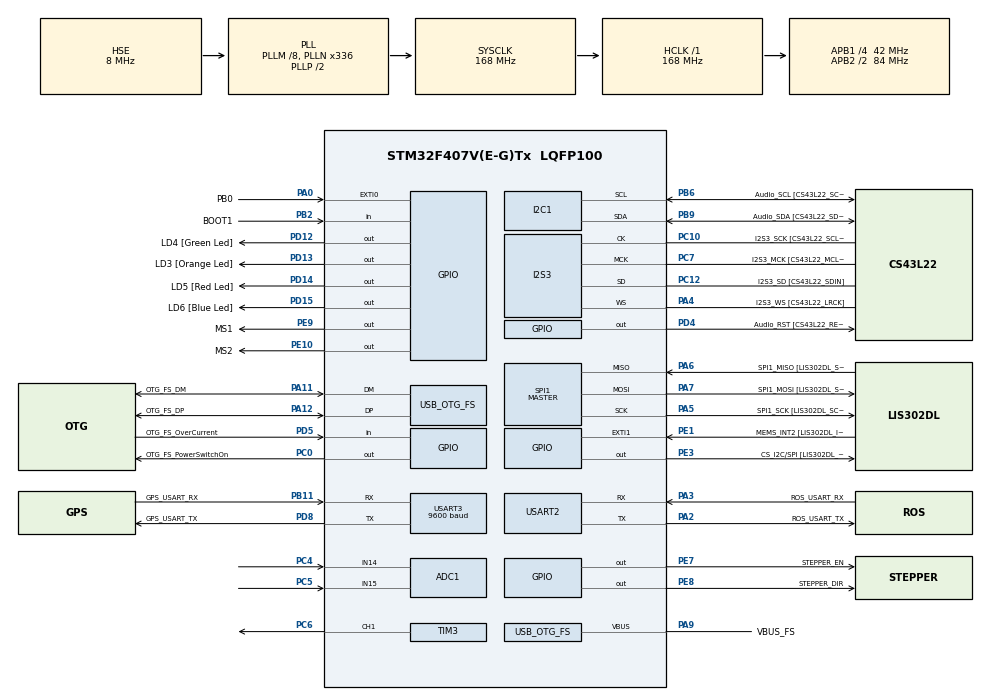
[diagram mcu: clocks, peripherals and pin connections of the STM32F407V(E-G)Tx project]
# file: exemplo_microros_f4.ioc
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ADC1.Channel-1\#ChannelRegularConversion=ADC_CHANNEL_14
ADC1.Channel-2\#ChannelRegularConversion=ADC_CHANNEL_15
ADC1.ContinuousConvMode=ENABLE
ADC1.DMAContinuousRequests=ENABLE
ADC1.DiscontinuousConvMode=DISABLE
ADC1.NbrOfConversion=2
ADC1.NbrOfConversionFlag=1
ADC1.Rank-1\#ChannelRegularConversion=1
ADC1.Rank-2\#ChannelRegularConversion=2
ADC1.SamplingTime-1\#ChannelRegularConversion=ADC_SAMPLETIME_28CYCLES
ADC1.SamplingTime-2\#ChannelRegularConversion=ADC_SAMPLETIME_28CYCLES
ADC1.ScanConvMode=ENABLE
ADC1.master=1
Dma.ADC1.2.Direction=DMA_PERIPH_TO_MEMORY
Dma.ADC1.2.FIFOMode=DMA_FIFOMODE_DISABLE
Dma.ADC1.2.Instance=DMA2_Stream0
Dma.ADC1.2.MemDataAlignment=DMA_MDATAALIGN_HALFWORD
Dma.ADC1.2.MemInc=DMA_MINC_ENABLE
Dma.ADC1.2.Mode=DMA_CIRCULAR
Dma.ADC1.2.PeriphDataAlignment=DMA_PDATAALIGN_HALFWORD
Dma.ADC1.2.PeriphInc=DMA_PINC_DISABLE
Dma.ADC1.2.Priority=DMA_PRIORITY_LOW
Dma.Request0=USART2_RX
Dma.Request1=USART2_TX
Dma.Request2=ADC1
Dma.USART2_RX.0.Direction=DMA_PERIPH_TO_MEMORY
Dma.USART2_RX.0.FIFOMode=DMA_FIFOMODE_DISABLE
Dma.USART2_RX.0.Instance=DMA1_Stream5
Dma.USART2_RX.0.MemDataAlignment=DMA_MDATAALIGN_BYTE
Dma.USART2_RX.0.MemInc=DMA_MINC_ENABLE
Dma.USART2_RX.0.Mode=DMA_CIRCULAR
Dma.USART2_RX.0.PeriphDataAlignment=DMA_PDATAALIGN_BYTE
Dma.USART2_RX.0.PeriphInc=DMA_PINC_DISABLE
Dma.USART2_RX.0.Priority=DMA_PRIORITY_VERY_HIGH
Dma.USART2_TX.1.Direction=DMA_MEMORY_TO_PERIPH
Dma.USART2_TX.1.FIFOMode=DMA_FIFOMODE_DISABLE
Dma.USART2_TX.1.Instance=DMA1_Stream6
Dma.USART2_TX.1.MemDataAlignment=DMA_MDATAALIGN_BYTE
Dma.USART2_TX.1.MemInc=DMA_MINC_ENABLE
Dma.USART2_TX.1.Mode=DMA_NORMAL
Dma.USART2_TX.1.PeriphDataAlignment=DMA_PDATAALIGN_BYTE
Dma.USART2_TX.1.PeriphInc=DMA_PINC_DISABLE
Dma.USART2_TX.1.Priority=DMA_PRIORITY_VERY_HIGH
FREERTOS.Mutexes01=stepperMutex,Dynamic,NULL;sensorDataMutex,Dynamic,NULL
FREERTOS.Tasks01=task_ros2,24,3000,task_ros2_function,Default,NULL,Dynamic,NULL,NULL;task_gps,24,1024,task_gps_function,Default,NULL,Dynamic,NULL,NULL;task_stepper,48,128,task_stepper_function,Default,NULL,Dynamic,NULL,NULL;task_main,32,512,task_main_function,Default,NULL,Dynamic,NULL,NULL
FREERTOS.configTOTAL_HEAP_SIZE=30000
I2S3.AudioFreq-Half_Duplex_Master=I2S_AUDIOFREQ_96K
I2S3.ErrorAudioFreq=-2.34 %
I2S3.ErrorAudioFreq-Half_Duplex_Master=0.8 %
I2S3.FullDuplexMode=I2S_FULLDUPLEXMODE_DISABLE
I2S3.Instance=SPI$Index
I2S3.RealAudioFreq=93.75 KHz
I2S3.RealAudioFreq-Half_Duplex_Master=96.774 KHz
I2S3.VirtualMode=I2S_MODE_MASTER
Mcu.Family=STM32F4
Mcu.Name=STM32F407V(E-G)Tx
Mcu.Package=LQFP100
NVIC.DMA1_Stream5_IRQn=true\:5\:0\:false\:false\:true\:true\:false\:true
NVIC.DMA1_Stream6_IRQn=true\:5\:0\:false\:false\:true\:true\:false\:true
NVIC.DMA2_Stream0_IRQn=true\:5\:0\:false\:false\:true\:true\:false\:true
NVIC.EXTI0_IRQn=true\:5\:0\:false\:false\:true\:true\:true\:true
NVIC.OTG_FS_IRQn=true\:5\:0\:false\:false\:true\:true\:true\:true
NVIC.PriorityGroup=NVIC_PRIORITYGROUP_4
NVIC.TIM3_IRQn=true\:6\:0\:true\:false\:true\:true\:true\:true
NVIC.TIM7_IRQn=true\:15\:0\:false\:false\:true\:false\:false\:true
NVIC.TimeBase=TIM7_IRQn
NVIC.TimeBaseIP=TIM7
NVIC.USART2_IRQn=true\:5\:0\:false\:false\:true\:true\:true\:true
NVIC.USART3_IRQn=true\:5\:0\:false\:false\:true\:true\:true\:true
PA0-WKUP.GPIO_Label=PB0
PA0-WKUP.Signal=GPXTI0
PA10.GPIO_Label=OTG_FS_ID
PA10.GPIO_Mode=GPIO_MODE_AF_PP
PA10.GPIO_PuPd=GPIO_NOPULL
PA10.GPIO_Speed=GPIO_SPEED_FREQ_LOW
PA10.Signal=USB_OTG_FS_ID
PA11.GPIO_Label=OTG_FS_DM
PA11.GPIO_Mode=GPIO_MODE_AF_PP
PA11.GPIO_PuPd=GPIO_NOPULL
PA11.GPIO_Speed=GPIO_SPEED_FREQ_LOW
PA11.Mode=Host_Only
PA11.Signal=USB_OTG_FS_DM
PA12.GPIO_Label=OTG_FS_DP
PA12.GPIO_Mode=GPIO_MODE_AF_PP
PA12.GPIO_PuPd=GPIO_NOPULL
PA12.GPIO_Speed=GPIO_SPEED_FREQ_LOW
PA12.Mode=Host_Only
PA12.Signal=USB_OTG_FS_DP
PA13.GPIO_Label=SWDIO
PA13.Mode=Trace_Asynchronous_SW
PA13.Signal=SYS_JTMS-SWDIO
PA14.GPIO_Label=SWCLK
PA14.Mode=Trace_Asynchronous_SW
PA14.Signal=SYS_JTCK-SWCLK
PA2.GPIO_Label=ROS_USART_TX
PA2.Mode=Asynchronous
PA2.Signal=USART2_TX
PA3.GPIO_Label=ROS_USART_RX
PA3.Mode=Asynchronous
PA3.Signal=USART2_RX
PA4.GPIO_Label=I2S3_WS [CS43L22_LRCK]
PA4.GPIO_Mode=GPIO_MODE_AF_PP
PA4.GPIO_PuPd=GPIO_NOPULL
PA4.GPIO_Speed=GPIO_SPEED_FREQ_LOW
PA4.Mode=Half_Duplex_Master
PA4.Signal=I2S3_WS
PA5.GPIO_Label=SPI1_SCK [LIS302DL_SCL/SPC]
PA5.GPIO_Mode=GPIO_MODE_AF_PP
PA5.GPIO_PuPd=GPIO_NOPULL
PA5.GPIO_Speed=GPIO_SPEED_FREQ_LOW
PA5.Mode=Full_Duplex_Master
PA5.Signal=SPI1_SCK
PA6.GPIO_Label=SPI1_MISO [LIS302DL_SDO]
PA6.GPIO_Mode=GPIO_MODE_AF_PP
PA6.GPIO_PuPd=GPIO_NOPULL
PA6.GPIO_Speed=GPIO_SPEED_FREQ_LOW
PA6.Mode=Full_Duplex_Master
PA6.Signal=SPI1_MISO
PA7.GPIO_Label=SPI1_MOSI [LIS302DL_SDA/SDI/SDO]
PA7.GPIO_Mode=GPIO_MODE_AF_PP
PA7.GPIO_PuPd=GPIO_NOPULL
PA7.GPIO_Speed=GPIO_SPEED_FREQ_LOW
PA7.Mode=Full_Duplex_Master
PA7.Signal=SPI1_MOSI
PA9.GPIO_Label=VBUS_FS
PA9.GPIO_Mode=GPIO_MODE_INPUT
PA9.GPIO_PuPd=GPIO_NOPULL
PA9.Mode=Activate_VBUS
PA9.Signal=USB_OTG_FS_VBUS
PB10.GPIO_Label=CLK_IN [MP45DT02_CLK]
PB10.GPIO_Mode=GPIO_MODE_AF_PP
PB10.GPIO_PuPd=GPIO_NOPULL
PB10.GPIO_Speed=GPIO_SPEED_FREQ_LOW
PB10.Signal=I2S2_CK
PB11.GPIO_Label=GPS_USART_RX
PB11.Mode=Asynchronous
PB11.Signal=USART3_RX
PB2.GPIO_Label=BOOT1
PB2.GPIO_Mode=GPIO_MODE_INPUT
PB2.GPIO_PuPd=GPIO_NOPULL
PB2.Signal=GPIO_Input
PB3.GPIO_Label=SWO
PB3.Mode=Trace_Asynchronous_SW
PB3.Signal=SYS_JTDO-SWO
PB6.GPIO_Label=Audio_SCL [CS43L22_SCL]
PB6.GPIO_Mode=GPIO_MODE_AF_OD
PB6.GPIO_Pu=GPIO_PULLUP
PB6.GPIO_PuPd=GPIO_NOPULL
PB6.GPIO_Speed=GPIO_SPEED_FREQ_LOW
PB6.Mode=I2C
PB6.Signal=I2C1_SCL
PB9.GPIO_Label=Audio_SDA [CS43L22_SDA]
PB9.GPIO_Mode=GPIO_MODE_AF_OD
PB9.GPIO_Pu=GPIO_PULLUP
PB9.GPIO_PuPd=GPIO_NOPULL
PB9.GPIO_Speed=GPIO_SPEED_FREQ_LOW
PB9.Mode=I2C
PB9.Signal=I2C1_SDA
PC0.GPIO_Label=OTG_FS_PowerSwitchOn
PC0.GPIO_PuPd=GPIO_NOPULL
PC0.GPIO_Speed=GPIO_SPEED_FREQ_LOW
PC0.PinState=GPIO_PIN_SET
PC0.Signal=GPIO_Output
PC10.GPIO_Label=I2S3_SCK [CS43L22_SCLK]
PC10.GPIO_Mode=GPIO_MODE_AF_PP
PC10.GPIO_PuPd=GPIO_NOPULL
PC10.GPIO_Speed=GPIO_SPEED_FREQ_LOW
PC10.Mode=Half_Duplex_Master
PC10.Signal=I2S3_CK
PC12.GPIO_Label=I2S3_SD [CS43L22_SDIN]
PC12.GPIO_Mode=GPIO_MODE_AF_PP
PC12.GPIO_PuPd=GPIO_NOPULL
PC12.GPIO_Speed=GPIO_SPEED_FREQ_LOW
PC12.Mode=Half_Duplex_Master
PC12.Signal=I2S3_SD
PC14-OSC32_IN.GPIO_Label=PC14-OSC32_IN
PC14-OSC32_IN.Mode=LSE-External-Oscillator
PC14-OSC32_IN.Signal=RCC_OSC32_IN
PC15-OSC32_OUT.GPIO_Label=PC15-OSC32_OUT
PC15-OSC32_OUT.Mode=LSE-External-Oscillator
PC15-OSC32_OUT.Signal=RCC_OSC32_OUT
PC3.GPIO_Label=PDM_OUT [MP45DT02_DOUT]
PC3.GPIO_Mode=GPIO_MODE_AF_PP
PC3.GPIO_PuPd=GPIO_NOPULL
PC3.GPIO_Speed=GPIO_SPEED_FREQ_LOW
PC3.Signal=I2S2_SD
PC4.Signal=ADCx_IN14
PC5.Signal=ADCx_IN15
PC6.Signal=S_TIM3_CH1
PC7.GPIO_Label=I2S3_MCK [CS43L22_MCLK]
PC7.GPIO_Mode=GPIO_MODE_AF_PP
PC7.GPIO_PuPd=GPIO_NOPULL
PC7.GPIO_Speed=GPIO_SPEED_FREQ_LOW
PC7.Mode=Master_Clock_Activated
PC7.Signal=I2S3_MCK
PD12.GPIO_Label=LD4 [Green Led]
PD12.GPIO_PuPd=GPIO_NOPULL
PD12.GPIO_Speed=GPIO_SPEED_FREQ_LOW
PD12.Signal=GPIO_Output
PD13.GPIO_Label=LD3 [Orange Led]
PD13.GPIO_PuPd=GPIO_NOPULL
PD13.GPIO_Speed=GPIO_SPEED_FREQ_LOW
PD13.Signal=GPIO_Output
PD14.GPIO_Label=LD5 [Red Led]
PD14.GPIO_PuPd=GPIO_NOPULL
PD14.GPIO_Speed=GPIO_SPEED_FREQ_LOW
PD14.Signal=GPIO_Output
PD15.GPIO_Label=LD6 [Blue Led]
PD15.GPIO_PuPd=GPIO_NOPULL
PD15.GPIO_Speed=GPIO_SPEED_FREQ_LOW
PD15.Signal=GPIO_Output
PD4.GPIO_Label=Audio_RST [CS43L22_RESET]
PD4.GPIO_PuPd=GPIO_NOPULL
PD4.GPIO_Speed=GPIO_SPEED_FREQ_LOW
PD4.Signal=GPIO_Output
PD5.GPIO_Label=OTG_FS_OverCurrent
PD5.GPIO_Mode=GPIO_MODE_INPUT
PD5.GPIO_PuPd=GPIO_NOPULL
PD5.Signal=GPIO_Input
PD8.GPIO_Label=GPS_USART_TX
PD8.Mode=Asynchronous
PD8.Signal=USART3_TX
PE1.GPIO_Label=MEMS_INT2 [LIS302DL_INT2]
PE1.GPIO_ModeDefaultEXTI=GPIO_MODE_EVT_RISING
PE1.GPIO_PuPd=GPIO_NOPULL
PE1.Signal=GPXTI1
PE10.GPIO_Label=MS2
PE10.Signal=GPIO_Output
PE3.GPIO_Label=CS_I2C/SPI [LIS302DL_CS_I2C/SPI]
PE3.GPIO_PuPd=GPIO_NOPULL
PE3.GPIO_Speed=GPIO_SPEED_FREQ_LOW
PE3.Signal=GPIO_Output
PE7.GPIO_Label=STEPPER_EN
PE7.Signal=GPIO_Output
PE8.GPIO_Label=STEPPER_DIR
PE8.Signal=GPIO_Output
PE9.GPIO_Label=MS1
PE9.Signal=GPIO_Output
PH0-OSC_IN.GPIO_Label=PH0-OSC_IN
PH0-OSC_IN.Mode=HSE-External-Oscillator
PH0-OSC_IN.Signal=RCC_OSC_IN
PH1-OSC_OUT.GPIO_Label=PH1-OSC_OUT
PH1-OSC_OUT.Mode=HSE-External-Oscillator
PH1-OSC_OUT.Signal=RCC_OSC_OUT
ProjectManager.HeapSize=0x200
ProjectManager.StackSize=0x400
ProjectManager.TargetToolchain=STM32CubeIDE
RCC.48MHZClocksFreq_Value=48000000
RCC.AHBFreq_Value=168000000
RCC.APB1CLKDivider=RCC_HCLK_DIV4
RCC.APB1Freq_Value=42000000
RCC.APB1TimFreq_Value=84000000
RCC.APB2CLKDivider=RCC_HCLK_DIV2
RCC.APB2Freq_Value=84000000
RCC.APB2TimFreq_Value=168000000
RCC.CortexFreq_Value=168000000
RCC.HCLKFreq_Value=168000000
RCC.HSE_VALUE=8000000
RCC.HSI_VALUE=16000000
RCC.PLLM=8
RCC.PLLN=336
RCC.PLLQ=7
RCC.SYSCLKFreq_VALUE=168000000
RCC.SYSCLKSource=RCC_SYSCLKSOURCE_PLLCLK
RCC.VCOOutputFreq_Value=336000000
SH.ADCx_IN14.0=ADC1_IN14,IN14
SH.ADCx_IN15.0=ADC1_IN15,IN15
SH.S_TIM3_CH1.0=TIM3_CH1,PWM Generation1 CH1
SPI1.BaudRatePrescaler-Full_Duplex_Master=SPI_BAUDRATEPRESCALER_2
SPI1.CalculateBaudRate-Full_Duplex_Master=42.0 MBits/s
SPI1.Direction=SPI_DIRECTION_2LINES
SPI1.Mode=SPI_MODE_MASTER
SPI1.Mode-Full_Duplex_Master=SPI_MODE_MASTER
SPI1.VirtualType=VM_MASTER
TIM3.Channel-PWM\ Generation1\ CH1=TIM_CHANNEL_1
TIM3.Period=1000
TIM3.Prescaler=84-1
TIM3.Pulse-PWM\ Generation1\ CH1=250
USART2.VirtualMode=VM_ASYNC
USART3.BaudRate=9600
USART3.VirtualMode=VM_ASYNC
USB_OTG_FS.VirtualMode=Host_Only
USB_OTG_FS.phy_itface=HCD_PHY_EMBEDDED
VP_FREERTOS_VS_CMSIS_V2.Mode=CMSIS_V2
VP_SYS_VS_tim7.Mode=TIM7
VP_TIM3_VS_ClockSourceINT.Mode=Internal
board=STM32F407G-DISC1

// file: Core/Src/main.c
/* USER CODE BEGIN Header */
/**
  ******************************************************************************
  * @file           : main.c
  * @brief          : Main program body
  ******************************************************************************
  * @attention
  *
  * <h2><center>&copy; Copyright (c) 2021 STMicroelectronics.
  * All rights reserved.</center></h2>
  *
  * This software component is licensed by ST under Ultimate Liberty license
  * SLA0044, the "License"; You may not use this file except in compliance with
  * the License. You may obtain a copy of the License at:
  *                             www.st.com/SLA0044
  *
  ******************************************************************************
  */
/* USER CODE END Header */
#include "main.h"
#include "cmsis_os.h"

/* USER CODE BEGIN Includes */
#include <rcl/rcl.h>
#include <rcl/error_handling.h>
#include <rclc/rclc.h>
#include <rclc/executor.h>
#include <uxr/client/transport.h>
#include <rmw_microxrcedds_c/config.h>
#include <rmw_microros/rmw_microros.h>
#include <rosidl_runtime_c/string.h>

#include <time.h>
#include <math.h>
#include "stepper.h"

#include <std_msgs/msg/int32.h>
#include <std_msgs/msg/u_int32.h>
#include <sensor_msgs/msg/nav_sat_fix.h>
#include <std_msgs/msg/u_int16_multi_array.h>
#include <std_msgs/msg/float32.h>
/* USER CODE END Includes */

/* USER CODE BEGIN PTD */
typedef struct {
	float time;
	float latitude;
	float longitude;
	float hdop;
	float altitude;
	float geoid;
	char ns;
	char ew;
	char unit;
	int lock;
	int sats;
} gps_t;

typedef struct {
	uint32_t digital_input;
	uint32_t analog_input[2];
} sensor_data_t;

typedef struct {
	uint32_t stepper_target_position;
	uint32_t digital_output;
}ros_cmd_t;
/* USER CODE END PTD */

/* USER CODE BEGIN PD */
#define TF_GPS_DATA 1<<0
#define TF_STEPPER_INT 1<<0
#define TF_STEPPER_DATA 1<<1
#define TF_MAIN_ROS_CMD 1<<0
/* USER CODE END PD */

ADC_HandleTypeDef hadc1;
DMA_HandleTypeDef hdma_adc1;

I2C_HandleTypeDef hi2c1;

I2S_HandleTypeDef hi2s3;

SPI_HandleTypeDef hspi1;

TIM_HandleTypeDef htim3;

UART_HandleTypeDef huart2;
UART_HandleTypeDef huart3;
DMA_HandleTypeDef hdma_usart2_rx;
DMA_HandleTypeDef hdma_usart2_tx;

HCD_HandleTypeDef hhcd_USB_OTG_FS;

/* Definitions for task_ros2 */
osThreadId_t task_ros2Handle;
const osThreadAttr_t task_ros2_attributes = {
  .name = "task_ros2",
  .stack_size = 3000 * 4,
  .priority = (osPriority_t) osPriorityNormal,
};
/* Definitions for task_gps */
osThreadId_t task_gpsHandle;
const osThreadAttr_t task_gps_attributes = {
  .name = "task_gps",
  .stack_size = 1024 * 4,
  .priority = (osPriority_t) osPriorityNormal,
};
/* Definitions for task_stepper */
osThreadId_t task_stepperHandle;
const osThreadAttr_t task_stepper_attributes = {
  .name = "task_stepper",
  .stack_size = 128 * 4,
  .priority = (osPriority_t) osPriorityRealtime,
};
/* Definitions for task_main */
osThreadId_t task_mainHandle;
const osThreadAttr_t task_main_attributes = {
  .name = "task_main",
  .stack_size = 512 * 4,
  .priority = (osPriority_t) osPriorityAboveNormal,
};
/* Definitions for stepperMutex */
osMutexId_t stepperMutexHandle;
const osMutexAttr_t stepperMutex_attributes = {
  .name = "stepperMutex"
};
/* Definitions for sensorDataMutex */
osMutexId_t sensorDataMutexHandle;
const osMutexAttr_t sensorDataMutex_attributes = {
  .name = "sensorDataMutex"
};
/* USER CODE BEGIN PV */
/* Subscriber declaration */

rcl_subscription_t ros2_gpio_output_sub;
rcl_subscription_t ros2_stepper_target_position_sub;

/* Publisher declaration */

rcl_publisher_t ros2_gpio_input_pub;
rcl_publisher_t ros2_gps_pub;
rcl_publisher_t ros2_analog_input_pub;
rcl_publisher_t ros2_stepper_current_position_pub;
rcl_publisher_t ros2_stepper_speed_pub;
/* ROS timer declaration */

rcl_timer_t ros2_gpio_input_timer;
rcl_timer_t ros2_gps_timer;
rcl_timer_t ros2_analog_input_timer;
rcl_timer_t ros2_stepper_current_position_timer;
rcl_timer_t ros2_stepper_speed_timer;

/* Messages declaration */

std_msgs__msg__UInt32 ros2_gpio_input_msg;
sensor_msgs__msg__NavSatFix ros2_gps_msg;
std_msgs__msg__UInt16MultiArray ros2_analog_input_msg;
std_msgs__msg__UInt32 ros2_gpio_output_msg;
std_msgs__msg__UInt32 ros2_stepper_target_position_msg;
std_msgs__msg__UInt32 ros2_stepper_current_position_msg;
std_msgs__msg__Float32 ros2_stepper_speed_msg;

uint16_t adc_values[2];
uint32_t gpio_input;
uint8_t gps_buffer[256];
uint8_t gps_buffer_index = 0;
uint8_t uart_gps_rx = 0;

stepper_t stepper;
gps_t gps;
ros_cmd_t ros_cmd;
sensor_data_t sensor_data;

HAL_StatusTypeDef status;

/* USER CODE END PV */

void SystemClock_Config(void);
static void MX_GPIO_Init(void);
static void MX_I2C1_Init(void);
static void MX_I2S3_Init(void);
static void MX_SPI1_Init(void);
static void MX_DMA_Init(void);
static void MX_USART2_UART_Init(void);
static void MX_USB_OTG_FS_HCD_Init(void);
static void MX_USART3_UART_Init(void);
static void MX_ADC1_Init(void);
static void MX_TIM3_Init(void);
void task_ros2_function(void *argument);
void task_gps_function(void *argument);
void task_stepper_function(void *argument);
void task_main_function(void *argument);

/* USER CODE BEGIN PFP */
bool cubemx_transport_open(struct uxrCustomTransport * transport);
bool cubemx_transport_close(struct uxrCustomTransport * transport);
size_t cubemx_transport_write(struct uxrCustomTransport* transport, const uint8_t * buf, size_t len, uint8_t * err);
size_t cubemx_transport_read(struct uxrCustomTransport* transport, uint8_t* buf, size_t len, int timeout, uint8_t* err);

void * microros_allocate(size_t size, void * state);
void microros_deallocate(void * pointer, void * state);
void * microros_reallocate(void * pointer, size_t size, void * state);
void * microros_zero_allocate(size_t number_of_elements, size_t size_of_element, void * state);

void ros2_gpio_input_timer_callback(rcl_timer_t * timer, int64_t last_call_time);
void ros2_gps_timer_callback(rcl_timer_t * timer, int64_t last_call_time);
void ros2_analog_input_timer_callback(rcl_timer_t * timer, int64_t last_call_time);
void ros2_stepper_current_position_timer_callback(rcl_timer_t * timer, int64_t last_call_time);
void ros2_stepper_speed_timer_callback(rcl_timer_t * timer, int64_t last_call_time);

void ros2_gpio_output_callback(const void * msgin);
void ros2_stepper_target_position_callback(const void * msgin);

//extern int clock_gettime( int clock_id, struct timespec * tp );
extern void UTILS_NanosecondsToTimespec( int64_t llSource, struct timespec * const pxDestination );
double convertDegMinToDecDeg (float degMin);
void updateDigitalOuputs(uint32_t digital_output);
/* USER CODE END PFP */

int main(void)
{

  /* MCU Configuration--------------------------------------------------------*/

  /* Reset of all peripherals, Initializes the Flash interface and the Systick. */
  HAL_Init();

  /* Configure the system clock */
  SystemClock_Config();

  /* Initialize all configured peripherals */
  MX_GPIO_Init();
  MX_I2C1_Init();
  MX_I2S3_Init();
  MX_SPI1_Init();
  MX_DMA_Init();
  MX_USART2_UART_Init();
  MX_USB_OTG_FS_HCD_Init();
  MX_USART3_UART_Init();
  MX_ADC1_Init();
  MX_TIM3_Init();
  /* USER CODE BEGIN 2 */
  HAL_ADC_Start_DMA(&hadc1, adc_values, 2);
  status = HAL_UART_Receive_IT(&huart3, &uart_gps_rx, 1);
  /* USER CODE END 2 */

  /* Init scheduler */
  osKernelInitialize();
  /* Create the mutex(es) */
  /* creation of stepperMutex */
  stepperMutexHandle = osMutexNew(&stepperMutex_attributes);

  /* creation of sensorDataMutex */
  sensorDataMutexHandle = osMutexNew(&sensorDataMutex_attributes);

  /* Create the thread(s) */
  /* creation of task_ros2 */
  task_ros2Handle = osThreadNew(task_ros2_function, NULL, &task_ros2_attributes);

  /* creation of task_gps */
  task_gpsHandle = osThreadNew(task_gps_function, NULL, &task_gps_attributes);

  /* creation of task_stepper */
  task_stepperHandle = osThreadNew(task_stepper_function, NULL, &task_stepper_attributes);

  /* creation of task_main */
  task_mainHandle = osThreadNew(task_main_function, NULL, &task_main_attributes);

  /* Start scheduler */
  osKernelStart();

  /* We should never get here as control is now taken by the scheduler */
  /* Infinite loop */
  while (1)
  {

  }
}

void SystemClock_Config(void)
{
  RCC_OscInitTypeDef RCC_OscInitStruct = {0};
  RCC_ClkInitTypeDef RCC_ClkInitStruct = {0};

  /** Configure the main internal regulator output voltage
  */
  __HAL_RCC_PWR_CLK_ENABLE();
  __HAL_PWR_VOLTAGESCALING_CONFIG(PWR_REGULATOR_VOLTAGE_SCALE1);
  /** Initializes the RCC Oscillators according to the specified parameters
  * in the RCC_OscInitTypeDef structure.
  */
  RCC_OscInitStruct.OscillatorType = RCC_OSCILLATORTYPE_HSE;
  RCC_OscInitStruct.HSEState = RCC_HSE_ON;
  RCC_OscInitStruct.PLL.PLLState = RCC_PLL_ON;
  RCC_OscInitStruct.PLL.PLLSource = RCC_PLLSOURCE_HSE;
  RCC_OscInitStruct.PLL.PLLM = 8;
  RCC_OscInitStruct.PLL.PLLN = 336;
  RCC_OscInitStruct.PLL.PLLP = RCC_PLLP_DIV2;
  RCC_OscInitStruct.PLL.PLLQ = 7;
  if (HAL_RCC_OscConfig(&RCC_OscInitStruct) != HAL_OK)
  {
    Error_Handler();
  }
  /** Initializes the CPU, AHB and APB buses clocks
  */
  RCC_ClkInitStruct.ClockType = RCC_CLOCKTYPE_HCLK|RCC_CLOCKTYPE_SYSCLK
                              |RCC_CLOCKTYPE_PCLK1|RCC_CLOCKTYPE_PCLK2;
  RCC_ClkInitStruct.SYSCLKSource = RCC_SYSCLKSOURCE_PLLCLK;
  RCC_ClkInitStruct.AHBCLKDivider = RCC_SYSCLK_DIV1;
  RCC_ClkInitStruct.APB1CLKDivider = RCC_HCLK_DIV4;
  RCC_ClkInitStruct.APB2CLKDivider = RCC_HCLK_DIV2;

  if (HAL_RCC_ClockConfig(&RCC_ClkInitStruct, FLASH_LATENCY_5) != HAL_OK)
  {
    Error_Handler();
  }
}

static void MX_ADC1_Init(void)
{

  ADC_ChannelConfTypeDef sConfig = {0};

  /** Configure the global features of the ADC (Clock, Resolution, Data Alignment and number of conversion)
  */
  hadc1.Instance = ADC1;
  hadc1.Init.ClockPrescaler = ADC_CLOCK_SYNC_PCLK_DIV4;
  hadc1.Init.Resolution = ADC_RESOLUTION_12B;
  hadc1.Init.ScanConvMode = ENABLE;
  hadc1.Init.ContinuousConvMode = ENABLE;
  hadc1.Init.DiscontinuousConvMode = DISABLE;
  hadc1.Init.ExternalTrigConvEdge = ADC_EXTERNALTRIGCONVEDGE_NONE;
  hadc1.Init.ExternalTrigConv = ADC_SOFTWARE_START;
  hadc1.Init.DataAlign = ADC_DATAALIGN_RIGHT;
  hadc1.Init.NbrOfConversion = 2;
  hadc1.Init.DMAContinuousRequests = ENABLE;
  hadc1.Init.EOCSelection = ADC_EOC_SINGLE_CONV;
  if (HAL_ADC_Init(&hadc1) != HAL_OK)
  {
    Error_Handler();
  }
  /** Configure for the selected ADC regular channel its corresponding rank in the sequencer and its sample time.
  */
  sConfig.Channel = ADC_CHANNEL_14;
  sConfig.Rank = 1;
  sConfig.SamplingTime = ADC_SAMPLETIME_28CYCLES;
  if (HAL_ADC_ConfigChannel(&hadc1, &sConfig) != HAL_OK)
  {
    Error_Handler();
  }
  /** Configure for the selected ADC regular channel its corresponding rank in the sequencer and its sample time.
  */
  sConfig.Channel = ADC_CHANNEL_15;
  sConfig.Rank = 2;
  if (HAL_ADC_ConfigChannel(&hadc1, &sConfig) != HAL_OK)
  {
    Error_Handler();
  }

}

static void MX_I2C1_Init(void)
{

  hi2c1.Instance = I2C1;
  hi2c1.Init.ClockSpeed = 100000;
  hi2c1.Init.DutyCycle = I2C_DUTYCYCLE_2;
  hi2c1.Init.OwnAddress1 = 0;
  hi2c1.Init.AddressingMode = I2C_ADDRESSINGMODE_7BIT;
  hi2c1.Init.DualAddressMode = I2C_DUALADDRESS_DISABLE;
  hi2c1.Init.OwnAddress2 = 0;
  hi2c1.Init.GeneralCallMode = I2C_GENERALCALL_DISABLE;
  hi2c1.Init.NoStretchMode = I2C_NOSTRETCH_DISABLE;
  if (HAL_I2C_Init(&hi2c1) != HAL_OK)
  {
    Error_Handler();
  }

}

static void MX_I2S3_Init(void)
{

  hi2s3.Instance = SPI3;
  hi2s3.Init.Mode = I2S_MODE_MASTER_TX;
  hi2s3.Init.Standard = I2S_STANDARD_PHILIPS;
  hi2s3.Init.DataFormat = I2S_DATAFORMAT_16B;
  hi2s3.Init.MCLKOutput = I2S_MCLKOUTPUT_ENABLE;
  hi2s3.Init.AudioFreq = I2S_AUDIOFREQ_96K;
  hi2s3.Init.CPOL = I2S_CPOL_LOW;
  hi2s3.Init.ClockSource = I2S_CLOCK_PLL;
  hi2s3.Init.FullDuplexMode = I2S_FULLDUPLEXMODE_DISABLE;
  if (HAL_I2S_Init(&hi2s3) != HAL_OK)
  {
    Error_Handler();
  }

}

static void MX_SPI1_Init(void)
{

  /* SPI1 parameter configuration*/
  hspi1.Instance = SPI1;
  hspi1.Init.Mode = SPI_MODE_MASTER;
  hspi1.Init.Direction = SPI_DIRECTION_2LINES;
  hspi1.Init.DataSize = SPI_DATASIZE_8BIT;
  hspi1.Init.CLKPolarity = SPI_POLARITY_LOW;
  hspi1.Init.CLKPhase = SPI_PHASE_1EDGE;
  hspi1.Init.NSS = SPI_NSS_SOFT;
  hspi1.Init.BaudRatePrescaler = SPI_BAUDRATEPRESCALER_2;
  hspi1.Init.FirstBit = SPI_FIRSTBIT_MSB;
  hspi1.Init.TIMode = SPI_TIMODE_DISABLE;
  hspi1.Init.CRCCalculation = SPI_CRCCALCULATION_DISABLE;
  hspi1.Init.CRCPolynomial = 10;
  if (HAL_SPI_Init(&hspi1) != HAL_OK)
  {
    Error_Handler();
  }

}

static void MX_TIM3_Init(void)
{

  TIM_ClockConfigTypeDef sClockSourceConfig = {0};
  TIM_MasterConfigTypeDef sMasterConfig = {0};
  TIM_OC_InitTypeDef sConfigOC = {0};

  htim3.Instance = TIM3;
  htim3.Init.Prescaler = 84-1;
  htim3.Init.CounterMode = TIM_COUNTERMODE_UP;
  htim3.Init.Period = 1000;
  htim3.Init.ClockDivision = TIM_CLOCKDIVISION_DIV1;
  htim3.Init.AutoReloadPreload = TIM_AUTORELOAD_PRELOAD_DISABLE;
  if (HAL_TIM_Base_Init(&htim3) != HAL_OK)
  {
    Error_Handler();
  }
  sClockSourceConfig.ClockSource = TIM_CLOCKSOURCE_INTERNAL;
  if (HAL_TIM_ConfigClockSource(&htim3, &sClockSourceConfig) != HAL_OK)
  {
    Error_Handler();
  }
  if (HAL_TIM_PWM_Init(&htim3) != HAL_OK)
  {
    Error_Handler();
  }
  sMasterConfig.MasterOutputTrigger = TIM_TRGO_RESET;
  sMasterConfig.MasterSlaveMode = TIM_MASTERSLAVEMODE_DISABLE;
  if (HAL_TIMEx_MasterConfigSynchronization(&htim3, &sMasterConfig) != HAL_OK)
  {
    Error_Handler();
  }
  sConfigOC.OCMode = TIM_OCMODE_PWM1;
  sConfigOC.Pulse = 250;
  sConfigOC.OCPolarity = TIM_OCPOLARITY_HIGH;
  sConfigOC.OCFastMode = TIM_OCFAST_DISABLE;
  if (HAL_TIM_PWM_ConfigChannel(&htim3, &sConfigOC, TIM_CHANNEL_1) != HAL_OK)
  {
    Error_Handler();
  }
  HAL_TIM_MspPostInit(&htim3);

}

static void MX_USART2_UART_Init(void)
{

  huart2.Instance = USART2;
  huart2.Init.BaudRate = 115200;
  huart2.Init.WordLength = UART_WORDLENGTH_8B;
  huart2.Init.StopBits = UART_STOPBITS_1;
  huart2.Init.Parity = UART_PARITY_NONE;
  huart2.Init.Mode = UART_MODE_TX_RX;
  huart2.Init.HwFlowCtl = UART_HWCONTROL_NONE;
  huart2.Init.OverSampling = UART_OVERSAMPLING_16;
  if (HAL_UART_Init(&huart2) != HAL_OK)
  {
    Error_Handler();
  }

}

static void MX_USART3_UART_Init(void)
{

  huart3.Instance = USART3;
  huart3.Init.BaudRate = 9600;
  huart3.Init.WordLength = UART_WORDLENGTH_8B;
  huart3.Init.StopBits = UART_STOPBITS_1;
  huart3.Init.Parity = UART_PARITY_NONE;
  huart3.Init.Mode = UART_MODE_TX_RX;
  huart3.Init.HwFlowCtl = UART_HWCONTROL_NONE;
  huart3.Init.OverSampling = UART_OVERSAMPLING_16;
  if (HAL_UART_Init(&huart3) != HAL_OK)
  {
    Error_Handler();
  }

}

static void MX_USB_OTG_FS_HCD_Init(void)
{

  hhcd_USB_OTG_FS.Instance = USB_OTG_FS;
  hhcd_USB_OTG_FS.Init.Host_channels = 8;
  hhcd_USB_OTG_FS.Init.speed = HCD_SPEED_FULL;
  hhcd_USB_OTG_FS.Init.dma_enable = DISABLE;
  hhcd_USB_OTG_FS.Init.phy_itface = HCD_PHY_EMBEDDED;
  hhcd_USB_OTG_FS.Init.Sof_enable = DISABLE;
  if (HAL_HCD_Init(&hhcd_USB_OTG_FS) != HAL_OK)
  {
    Error_Handler();
  }

}

static void MX_DMA_Init(void)
{

  /* DMA controller clock enable */
  __HAL_RCC_DMA1_CLK_ENABLE();
  __HAL_RCC_DMA2_CLK_ENABLE();

  /* DMA interrupt init */
  /* DMA1_Stream5_IRQn interrupt configuration */
  HAL_NVIC_SetPriority(DMA1_Stream5_IRQn, 5, 0);
  HAL_NVIC_EnableIRQ(DMA1_Stream5_IRQn);
  /* DMA1_Stream6_IRQn interrupt configuration */
  HAL_NVIC_SetPriority(DMA1_Stream6_IRQn, 5, 0);
  HAL_NVIC_EnableIRQ(DMA1_Stream6_IRQn);
  /* DMA2_Stream0_IRQn interrupt configuration */
  HAL_NVIC_SetPriority(DMA2_Stream0_IRQn, 5, 0);
  HAL_NVIC_EnableIRQ(DMA2_Stream0_IRQn);

}

static void MX_GPIO_Init(void)
{
  GPIO_InitTypeDef GPIO_InitStruct = {0};

  /* GPIO Ports Clock Enable */
  __HAL_RCC_GPIOE_CLK_ENABLE();
  __HAL_RCC_GPIOC_CLK_ENABLE();
  __HAL_RCC_GPIOH_CLK_ENABLE();
  __HAL_RCC_GPIOA_CLK_ENABLE();
  __HAL_RCC_GPIOB_CLK_ENABLE();
  __HAL_RCC_GPIOD_CLK_ENABLE();

  /*Configure GPIO pin Output Level */
  HAL_GPIO_WritePin(GPIOE, CS_I2C_SPI_Pin|STEPPER_EN_Pin|STEPPER_DIR_Pin|MS1_Pin
                          |MS2_Pin, GPIO_PIN_RESET);

  /*Configure GPIO pin Output Level */
  HAL_GPIO_WritePin(OTG_FS_PowerSwitchOn_GPIO_Port, OTG_FS_PowerSwitchOn_Pin, GPIO_PIN_SET);

  /*Configure GPIO pin Output Level */
  HAL_GPIO_WritePin(GPIOD, LD4_Pin|LD3_Pin|LD5_Pin|LD6_Pin
                          |Audio_RST_Pin, GPIO_PIN_RESET);

  /*Configure GPIO pins : CS_I2C_SPI_Pin STEPPER_EN_Pin STEPPER_DIR_Pin MS1_Pin
                           MS2_Pin */
  GPIO_InitStruct.Pin = CS_I2C_SPI_Pin|STEPPER_EN_Pin|STEPPER_DIR_Pin|MS1_Pin
                          |MS2_Pin;
  GPIO_InitStruct.Mode = GPIO_MODE_OUTPUT_PP;
  GPIO_InitStruct.Pull = GPIO_NOPULL;
  GPIO_InitStruct.Speed = GPIO_SPEED_FREQ_LOW;
  HAL_GPIO_Init(GPIOE, &GPIO_InitStruct);

  /*Configure GPIO pin : OTG_FS_PowerSwitchOn_Pin */
  GPIO_InitStruct.Pin = OTG_FS_PowerSwitchOn_Pin;
  GPIO_InitStruct.Mode = GPIO_MODE_OUTPUT_PP;
  GPIO_InitStruct.Pull = GPIO_NOPULL;
  GPIO_InitStruct.Speed = GPIO_SPEED_FREQ_LOW;
  HAL_GPIO_Init(OTG_FS_PowerSwitchOn_GPIO_Port, &GPIO_InitStruct);

  /*Configure GPIO pin : PDM_OUT_Pin */
  GPIO_InitStruct.Pin = PDM_OUT_Pin;
  GPIO_InitStruct.Mode = GPIO_MODE_AF_PP;
  GPIO_InitStruct.Pull = GPIO_NOPULL;
  GPIO_InitStruct.Speed = GPIO_SPEED_FREQ_LOW;
  GPIO_InitStruct.Alternate = GPIO_AF5_SPI2;
  HAL_GPIO_Init(PDM_OUT_GPIO_Port, &GPIO_InitStruct);

  /*Configure GPIO pin : PB0_Pin */
  GPIO_InitStruct.Pin = PB0_Pin;
  GPIO_InitStruct.Mode = GPIO_MODE_IT_RISING;
  GPIO_InitStruct.Pull = GPIO_NOPULL;
  HAL_GPIO_Init(PB0_GPIO_Port, &GPIO_InitStruct);

  /*Configure GPIO pin : BOOT1_Pin */
  GPIO_InitStruct.Pin = BOOT1_Pin;
  GPIO_InitStruct.Mode = GPIO_MODE_INPUT;
  GPIO_InitStruct.Pull = GPIO_NOPULL;
  HAL_GPIO_Init(BOOT1_GPIO_Port, &GPIO_InitStruct);

  /*Configure GPIO pin : CLK_IN_Pin */
  GPIO_InitStruct.Pin = CLK_IN_Pin;
  GPIO_InitStruct.Mode = GPIO_MODE_AF_PP;
  GPIO_InitStruct.Pull = GPIO_NOPULL;
  GPIO_InitStruct.Speed = GPIO_SPEED_FREQ_LOW;
  GPIO_InitStruct.Alternate = GPIO_AF5_SPI2;
  HAL_GPIO_Init(CLK_IN_GPIO_Port, &GPIO_InitStruct);

  /*Configure GPIO pins : LD4_Pin LD3_Pin LD5_Pin LD6_Pin
                           Audio_RST_Pin */
  GPIO_InitStruct.Pin = LD4_Pin|LD3_Pin|LD5_Pin|LD6_Pin
                          |Audio_RST_Pin;
  GPIO_InitStruct.Mode = GPIO_MODE_OUTPUT_PP;
  GPIO_InitStruct.Pull = GPIO_NOPULL;
  GPIO_InitStruct.Speed = GPIO_SPEED_FREQ_LOW;
  HAL_GPIO_Init(GPIOD, &GPIO_InitStruct);

  /*Configure GPIO pin : OTG_FS_OverCurrent_Pin */
  GPIO_InitStruct.Pin = OTG_FS_OverCurrent_Pin;
  GPIO_InitStruct.Mode = GPIO_MODE_INPUT;
  GPIO_InitStruct.Pull = GPIO_NOPULL;
  HAL_GPIO_Init(OTG_FS_OverCurrent_GPIO_Port, &GPIO_InitStruct);

  /*Configure GPIO pin : MEMS_INT2_Pin */
  GPIO_InitStruct.Pin = MEMS_INT2_Pin;
  GPIO_InitStruct.Mode = GPIO_MODE_EVT_RISING;
  GPIO_InitStruct.Pull = GPIO_NOPULL;
  HAL_GPIO_Init(MEMS_INT2_GPIO_Port, &GPIO_InitStruct);

  /* EXTI interrupt init*/
  HAL_NVIC_SetPriority(EXTI0_IRQn, 5, 0);
  HAL_NVIC_EnableIRQ(EXTI0_IRQn);

}

/* USER CODE BEGIN 4 */

/**
 * Convert NMEA absolute position to decimal degrees
 * "ddmm.mmmm" or "dddmm.mmmm" really is D+M/60,
 * then negated if quadrant is 'W' or 'S'
 */
double convertDegMinToDecDeg (float degMin)
{
  double min = 0.0;
  double decDeg = 0.0;

  //get the minutes, fmod() requires double
  min = fmod((double)degMin, 100.0);

  //rebuild coordinates in decimal degrees
  degMin = (int) ( degMin / 100 );
  decDeg = degMin + ( min / 60 );

  return decDeg;
}

void ros2_gpio_input_timer_callback(rcl_timer_t * timer, int64_t last_call_time)
{

		ros2_gpio_input_msg.data= sensor_data.digital_input;

		// Publish the message
		rcl_ret_t ret = rcl_publish(&ros2_gpio_input_pub, &ros2_gpio_input_msg, NULL);
		if (ret != RCL_RET_OK)
		{
		  printf("Error publishing gpio inputs (line %d)\n", __LINE__);
		}
}

void ros2_gps_timer_callback(rcl_timer_t * timer, int64_t last_call_time) {
	if (timer != NULL) {
// Fill the message timestamp
		struct timespec ts;
		int64_t time_ns;
		time_ns = rmw_uros_epoch_nanos();
		UTILS_NanosecondsToTimespec(time_ns, &ts);

	// Create the Header
		ros2_gps_msg.header.stamp.sec = ts.tv_sec;
		ros2_gps_msg.header.stamp.nanosec = ts.tv_nsec;

		ros2_gps_msg.latitude = gps.latitude;
		ros2_gps_msg.longitude = gps.longitude;
		ros2_gps_msg.altitude = gps.altitude;
		// Publish the message
				rcl_ret_t ret = rcl_publish(&ros2_gps_pub, &ros2_gps_msg, NULL);
				if (ret != RCL_RET_OK)
				{
				  printf("Error publishing gps (line %d)\n", __LINE__);
				}
			}

}

void ros2_analog_input_timer_callback(rcl_timer_t * timer, int64_t last_call_time){
	if (timer != NULL) {
		osMutexAcquire(sensorDataMutexHandle, osWaitForever);
	ros2_analog_input_msg.data.data[0] = sensor_data.analog_input[0];
	ros2_analog_input_msg.data.data[1] = sensor_data.analog_input[1];
	osMutexRelease(sensorDataMutexHandle);
	// Publish the message
					rcl_ret_t ret = rcl_publish(&ros2_analog_input_pub, &ros2_analog_input_msg, NULL);
					if (ret != RCL_RET_OK)
					{
					  printf("Error publishing analog input (line %d)\n", __LINE__);
					}
	}

}

void ros2_stepper_speed_timer_callback(rcl_timer_t * timer, int64_t last_call_time){
	if (timer != NULL) {

	ros2_stepper_speed_msg.data = stepper.speed;

	// Publish the message
					rcl_ret_t ret = rcl_publish(&ros2_stepper_speed_pub, &ros2_stepper_speed_msg, NULL);
					if (ret != RCL_RET_OK)
					{
					  printf("Error publishing stepper speed (line %d)\n", __LINE__);
					}
	}
}

void ros2_stepper_current_position_timer_callback(rcl_timer_t * timer, int64_t last_call_time){
	if (timer != NULL) {

	ros2_stepper_current_position_msg.data = stepper.currentPos;

	// Publish the message
					rcl_ret_t ret = rcl_publish(&ros2_stepper_current_position_pub, &ros2_stepper_current_position_msg, NULL);
					if (ret != RCL_RET_OK)
					{
					  printf("Error publishing stepper current position (line %d)\n", __LINE__);
					}
	}
}

void ros2_stepper_target_position_callback(const void * msgin){
	const std_msgs__msg__UInt32 *stepper_target_position_msg;

		if (msgin != NULL)
		{

			stepper_target_position_msg = (const std_msgs__msg__UInt32 *)msgin;

			ros_cmd.stepper_target_position = stepper_target_position_msg->data;

			osThreadFlagsSet(task_mainHandle, TF_MAIN_ROS_CMD);

		}
}

void ros2_gpio_output_callback(const void * msgin)
{

	const std_msgs__msg__UInt32 *gpio_output_msg;
	int32_t data = 0;
	if (msgin != NULL)
	{

		gpio_output_msg = (const std_msgs__msg__UInt32 *)msgin;
		data = gpio_output_msg->data;

		ros_cmd.digital_output = data;
		osThreadFlagsSet(task_mainHandle, TF_MAIN_ROS_CMD);

	}
}

void HAL_UART_RxCpltCallback(UART_HandleTypeDef *huart){
if (huart->Instance == USART3){
	if ((uart_gps_rx != '\n') && gps_buffer_index < sizeof(gps_buffer)){
		gps_buffer[gps_buffer_index++] = uart_gps_rx;
	} else {
		osThreadFlagsSet(task_gpsHandle, TF_GPS_DATA);
	}

	status = HAL_UART_Receive_IT(&huart3, &uart_gps_rx, 1);

}
}

void HAL_TIM_PWM_PulseFinishedCallback(TIM_HandleTypeDef *htim){
	if (htim->Instance == TIM3){
		if (stepper.direction == DIRECTION_CW) {
			stepper.currentPos++;
			HAL_GPIO_WritePin(STEPPER_DIR_GPIO_Port, STEPPER_DIR_Pin, GPIO_PIN_SET);
		} else {
			stepper.currentPos--;
			HAL_GPIO_WritePin(STEPPER_DIR_GPIO_Port, STEPPER_DIR_Pin, GPIO_PIN_RESET);
		}
		osThreadFlagsSet(task_stepperHandle, TF_STEPPER_INT);

	}
}

void updateDigitalOuputs(uint32_t digital_output){
	HAL_GPIO_WritePin(LD6_GPIO_Port, LD6_Pin, (digital_output & 0x0001)>> 0);
	HAL_GPIO_WritePin(LD5_GPIO_Port, LD5_Pin, (digital_output & 0x0002)>> 1);
}
/* USER CODE END 4 */

void task_ros2_function(void *argument)
{
  /* USER CODE BEGIN 5 */
	// micro-ROS configuration
	  rmw_uros_set_custom_transport(
		true,
		(void *) &huart2,
		cubemx_transport_open,
		cubemx_transport_close,
		cubemx_transport_write,
		cubemx_transport_read);

	  rcl_allocator_t freeRTOS_allocator = rcutils_get_zero_initialized_allocator();
	  freeRTOS_allocator.allocate = microros_allocate;
	  freeRTOS_allocator.deallocate = microros_deallocate;
	  freeRTOS_allocator.reallocate = microros_reallocate;
	  freeRTOS_allocator.zero_allocate =  microros_zero_allocate;

	  if (!rcutils_set_default_allocator(&freeRTOS_allocator)) {
		  printf("Error on default allocators (line %d)\n", __LINE__);
	  }

	  rclc_support_t support;
	  rcl_allocator_t allocator;
	  rcl_node_t node;
	  rclc_executor_t executor;
	  rcl_init_options_t init_options;

	  allocator = rcl_get_default_allocator();
	  init_options = rcl_get_zero_initialized_init_options();
	  rcl_init_options_init(&init_options, allocator);

	  // create init_options
	  rclc_support_init_with_options(&support, 0, NULL, &init_options, &allocator);

	  // create node
	  rcl_node_options_t node_ops = rcl_node_get_default_options();
	  node_ops.domain_id = 25;
	  rclc_node_init_with_options(&node, "acquisition_system", "", &support, &node_ops);

	  //time sync
	  if( rmw_uros_sync_session(1000) != RMW_RET_OK)
		  printf("Error on time sync (line %d)\n", __LINE__);

	  //create gpio_output_sub
	  ros2_gpio_output_sub = rcl_get_zero_initialized_subscription();
	  rclc_subscription_init_best_effort(
			  &ros2_gpio_output_sub,
			  &node,
			  ROSIDL_GET_MSG_TYPE_SUPPORT(std_msgs, msg, UInt32),
			  "/gpio_output");

	  //create stepper_target_positoin_sub
	  ros2_stepper_target_position_sub = rcl_get_zero_initialized_subscription();
	 	  rclc_subscription_init_best_effort(
	 			  &ros2_stepper_target_position_sub,
	 			  &node,
	 			  ROSIDL_GET_MSG_TYPE_SUPPORT(std_msgs, msg, UInt32),
	 			  "/stepper_target_position");

	  // gpio_input pub
	  rclc_publisher_init_default(
			  &ros2_gpio_input_pub,
			  &node,
			  ROSIDL_GET_MSG_TYPE_SUPPORT(std_msgs, msg, UInt32),
			  "/gpio_input");

	  // gps_pub
	  rclc_publisher_init_default(
	  			  &ros2_gps_pub,
	  			  &node,
	  			  ROSIDL_GET_MSG_TYPE_SUPPORT(sensor_msgs, msg, NavSatFix),
	  			  "/gps");

	  rclc_publisher_init_default(
	  			  &ros2_analog_input_pub,
	  			  &node,
	  			  ROSIDL_GET_MSG_TYPE_SUPPORT(std_msgs, msg, UInt16MultiArray),
	  			  "/analog_input");

	  rclc_publisher_init_default(
	  	  			  &ros2_stepper_current_position_pub,
	  	  			  &node,
	  	  			  ROSIDL_GET_MSG_TYPE_SUPPORT(std_msgs, msg, UInt32),
	  	  			  "/stepper_current_position");

	  rclc_publisher_init_default(
		  	  			  &ros2_stepper_speed_pub,
		  	  			  &node,
		  	  			  ROSIDL_GET_MSG_TYPE_SUPPORT(std_msgs, msg, Float32),
		  	  			  "/stepper_speed");

	  // gps memmory allocation
	  ros2_gps_msg.header.frame_id.capacity = 20;
	  ros2_gps_msg.header.frame_id.data = (char*) pvPortMalloc(ros2_gps_msg.header.frame_id.capacity  * sizeof(char));
	  ros2_gps_msg.header.frame_id.size = strlen(ros2_gps_msg.header.frame_id.data);

	  // analog input allocation
	  ros2_analog_input_msg.data.capacity = 2;
	  ros2_analog_input_msg.data.size = 2;
	  ros2_analog_input_msg.data.data = (uint16_t*) pvPortMalloc(ros2_analog_input_msg.data.capacity * sizeof(uint16_t));
	  ros2_analog_input_msg.layout.dim.capacity = 2;
	  ros2_analog_input_msg.layout.dim.size = 2;
	  ros2_analog_input_msg.layout.dim.data = (std_msgs__msg__MultiArrayDimension*) pvPortMalloc(ros2_analog_input_msg.layout.dim.capacity * sizeof(std_msgs__msg__MultiArrayDimension));
	  for (size_t i =0; i< ros2_analog_input_msg.layout.dim.capacity; i++){
		  ros2_analog_input_msg.layout.dim.data[i].label.capacity = 20;
		  ros2_analog_input_msg.layout.dim.data[i].label.size = 10;
		  ros2_analog_input_msg.layout.dim.data[i].label.data = (char*) pvPortMalloc(ros2_analog_input_msg.layout.dim.data[i].label.capacity * sizeof(char));

	  }
	  strcpy(ros2_analog_input_msg.layout.dim.data[0].label.data, "Analog 1");
	  strcpy(ros2_analog_input_msg.layout.dim.data[1].label.data, "Analog 2");

	  // Create a timer
	  rclc_timer_init_default(&ros2_gpio_input_timer, &support, RCL_MS_TO_NS(100), ros2_gpio_input_timer_callback);
	  rclc_timer_init_default(&ros2_gps_timer, &support, RCL_MS_TO_NS(1000), ros2_gps_timer_callback);
	  rclc_timer_init_default(&ros2_analog_input_timer, &support, RCL_MS_TO_NS(100), ros2_analog_input_timer_callback);
	  rclc_timer_init_default(&ros2_stepper_current_position_timer, &support, RCL_MS_TO_NS(100), ros2_stepper_current_position_timer_callback);
	  rclc_timer_init_default(&ros2_stepper_speed_timer, &support, RCL_MS_TO_NS(100), ros2_stepper_speed_timer_callback);

	  // Create executor
	  rclc_executor_init(&executor, &support.context, 7, &allocator);

	  rclc_executor_add_subscription(&executor, &ros2_gpio_output_sub, &ros2_gpio_output_msg,
	  			  &ros2_gpio_output_callback, ON_NEW_DATA); // ON_NEW_DATA does not work properly
	  rclc_executor_add_subscription(&executor, &ros2_stepper_target_position_sub, &ros2_stepper_target_position_msg,
	 	  			  &ros2_stepper_target_position_callback, ON_NEW_DATA); // ON_NEW_DATA does not work properly

	  rclc_executor_add_timer(&executor, &ros2_gpio_input_timer);
	  rclc_executor_add_timer(&executor, &ros2_gps_timer);
	  rclc_executor_add_timer(&executor, &ros2_analog_input_timer);
	  rclc_executor_add_timer(&executor, &ros2_stepper_speed_timer);
	  rclc_executor_add_timer(&executor, &ros2_stepper_current_position_timer);

	  // Run executor
	  rclc_executor_spin(&executor);

	  /* Infinite loop */
	  for(;;)
	  {
	    osDelay(1);
	  }
  /* USER CODE END 5 */
}

void task_gps_function(void *argument)
{
  /* USER CODE BEGIN task_gps_function */

  /* Infinite loop */
  for(;;)
  {
    osThreadFlagsWait(TF_GPS_DATA, osFlagsWaitAny, osWaitForever);
    if(sscanf(gps_buffer, "$GPGGA,%f,%f,%c,%f,%c,%d,%d,%f,%f,%c,%f", &gps.time, &gps.latitude, &gps.ns, &gps.longitude, &gps.ew, &gps.lock, &gps.sats, &gps.hdop, &gps.altitude, &gps.unit, &gps.geoid) >= 1){
    	gps.latitude = (float) convertDegMinToDecDeg(gps.latitude);
    	gps.longitude = (float) convertDegMinToDecDeg(gps.longitude);
    	if (gps.ns == 'S') {
    		gps.latitude = - gps.latitude;
    	}
    	if (gps.ew = 'W'){
    		gps.longitude = - gps.longitude;
    	}
    }
    gps_buffer_index = 0;
    memset(gps_buffer, 0, sizeof(gps_buffer));
  }
  /* USER CODE END task_gps_function */
}

void task_stepper_function(void *argument)
{
  /* USER CODE BEGIN task_stepper_function */
	uint32_t flags;
	stepperInit(&stepper);

	stepperSetSpeed(&stepper, 1);
	__HAL_TIM_SET_AUTORELOAD(&htim3, stepper.stepInverval);
	stepperSetAcceleration(&stepper, 48*2*4);
	// Motor = 7.5°/Step, 1/4 Microstepping, speed =  2rev/s,
	stepperSetMaxSpeed(&stepper, 2*4*48);
	stepperSetAbsoluteTartePosition(&stepper, 0);
	__HAL_TIM_SET_AUTORELOAD(&htim3, stepper.stepInverval);
	 HAL_TIM_PWM_Start_IT(&htim3, TIM_CHANNEL_1);
  /* Infinite loop */
  for(;;)
  {

	  flags = osThreadFlagsWait((TF_STEPPER_INT | TF_STEPPER_DATA), osFlagsWaitAny, osWaitForever);
	  if ((flags & TF_STEPPER_INT) == TF_STEPPER_INT){
		  stepperComputeNewSpeed(&stepper);
		  __HAL_TIM_SET_AUTORELOAD(&htim3, stepper.stepInverval);
	  }

	  if ((flags & TF_STEPPER_DATA) == TF_STEPPER_DATA){
		  stepperComputeNewSpeed(&stepper);
		  __HAL_TIM_SET_AUTORELOAD(&htim3, stepper.stepInverval);
	  }
  }
  /* USER CODE END task_stepper_function */
}

void task_main_function(void *argument)
{
  /* USER CODE BEGIN task_main_function */
	uint32_t flags  = 0;
  /* Infinite loop */
  for(;;)
  {

	  flags = osThreadFlagsWait(TF_MAIN_ROS_CMD, osFlagsWaitAny, 0);
	  if ((flags & TF_MAIN_ROS_CMD) == TF_MAIN_ROS_CMD){
		  stepper.targetPos = ros_cmd.stepper_target_position;
		  osThreadFlagsSet(task_stepperHandle, TF_STEPPER_DATA);
		  updateDigitalOuputs(ros_cmd.digital_output);

	  }
	  osMutexAcquire(sensorDataMutexHandle, osWaitForever);
	  sensor_data.digital_input = HAL_GPIO_ReadPin(PB0_GPIO_Port, PB0_Pin);
	  sensor_data.analog_input[0] = adc_values[0];
	  sensor_data.analog_input[1] = adc_values[1];
	  osMutexRelease(sensorDataMutexHandle);

    osDelay(50);
  }
  /* USER CODE END task_main_function */
}

void HAL_TIM_PeriodElapsedCallback(TIM_HandleTypeDef *htim)
{
  if (htim->Instance == TIM7) {
    HAL_IncTick();
  }
}

void Error_Handler(void)
{
  __disable_irq();
  while (1)
  {
  }
}

/************************ (C) COPYRIGHT STMicroelectronics *****END OF FILE****/
